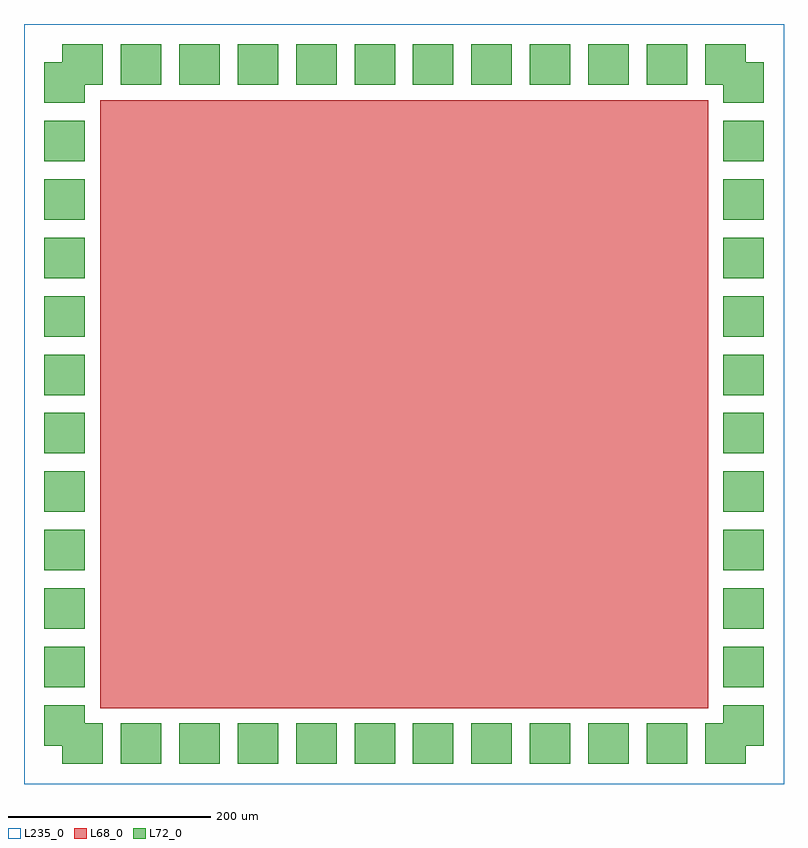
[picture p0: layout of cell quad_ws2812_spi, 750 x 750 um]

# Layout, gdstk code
import gdstk
lib = gdstk.Library(unit=1e-6, precision=1e-09)
def R(c, l, rs):  # rectangles x0, y0, x1, y1
    for r in rs: c.add(gdstk.rectangle(r[:2], r[2:], *l))
def A(c, l, x, y, w, h, nx, ny, dx, dy):  # array of equal rectangles
    R(c, l, [(x+i*dx, y+j*dy, x+i*dx+w, y+j*dy+h) for i in range(nx) for j in range(ny)])
L68_0 = (68, 0)
L72_0 = (72, 0)
L235_0 = (235, 0)

quad_ws2812_spi = lib.new_cell('quad_ws2812_spi')
R(quad_ws2812_spi, L68_0, [(75,75,675,675)])
A(quad_ws2812_spi, L72_0, 37.692, 20, 40, 40, 3, 2, 57.692, 670)
A(quad_ws2812_spi, L72_0, 210.769, 20, 40, 40, 3, 2, 57.692, 670)
A(quad_ws2812_spi, L72_0, 383.846, 20, 40, 40, 3, 2, 57.692, 670)
A(quad_ws2812_spi, L72_0, 556.923, 20, 40, 40, 3, 2, 57.692, 670)
A(quad_ws2812_spi, L72_0, 20, 37.692, 40, 40, 1, 3, 0, 57.692)
A(quad_ws2812_spi, L72_0, 690, 37.692, 40, 40, 1, 3, 0, 57.692)
A(quad_ws2812_spi, L72_0, 20, 210.769, 40, 40, 1, 3, 0, 57.692)
A(quad_ws2812_spi, L72_0, 690, 210.769, 40, 40, 1, 3, 0, 57.692)
A(quad_ws2812_spi, L72_0, 20, 383.846, 40, 40, 1, 3, 0, 57.692)
A(quad_ws2812_spi, L72_0, 690, 383.846, 40, 40, 1, 3, 0, 57.692)
A(quad_ws2812_spi, L72_0, 20, 556.923, 40, 40, 1, 3, 0, 57.692)
A(quad_ws2812_spi, L72_0, 690, 556.923, 40, 40, 1, 3, 0, 57.692)
R(quad_ws2812_spi, L235_0, [(0,0,750,750)])

lib.write_gds('quad_ws2812_spi.gds')
